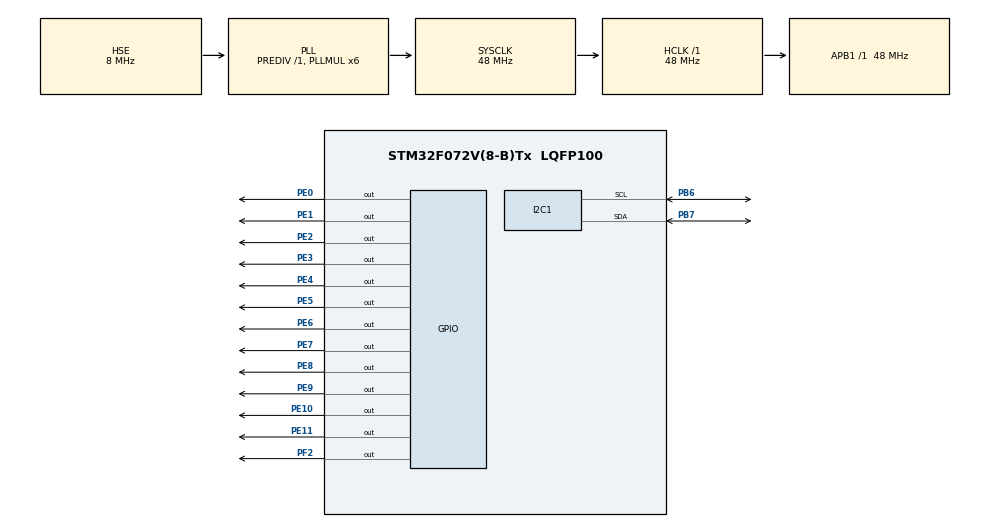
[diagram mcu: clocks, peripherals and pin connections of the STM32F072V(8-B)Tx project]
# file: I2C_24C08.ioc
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I2C1.Timing=0x2000090E
Mcu.Family=STM32F0
Mcu.Name=STM32F072V(8-B)Tx
Mcu.Package=LQFP100
PB6.Mode=I2C
PB6.Signal=I2C1_SCL
PB7.Mode=I2C
PB7.Signal=I2C1_SDA
PE0.Signal=GPIO_Output
PE1.Signal=GPIO_Output
PE10.Signal=GPIO_Output
PE11.Signal=GPIO_Output
PE2.Signal=GPIO_Output
PE3.Signal=GPIO_Output
PE4.Signal=GPIO_Output
PE5.Signal=GPIO_Output
PE6.Signal=GPIO_Output
PE7.Signal=GPIO_Output
PE8.Signal=GPIO_Output
PE9.Signal=GPIO_Output
PF0-OSC_IN.Mode=HSE-External-Oscillator
PF0-OSC_IN.Signal=RCC_OSC_IN
PF1-OSC_OUT.Mode=HSE-External-Oscillator
PF1-OSC_OUT.Signal=RCC_OSC_OUT
PF2.Signal=GPIO_Output
ProjectManager.HeapSize=0x200
ProjectManager.StackSize=0x400
ProjectManager.TargetToolchain=MDK-ARM V5
RCC.AHBFreq_Value=48000000
RCC.APB1Freq_Value=48000000
RCC.APB1TimFreq_Value=48000000
RCC.HCLKFreq_Value=48000000
RCC.PLLMUL=RCC_PLL_MUL6
RCC.PLLSourceVirtual=RCC_PLLSOURCE_HSE
RCC.SYSCLKFreq_VALUE=48000000
RCC.SYSCLKSource=RCC_SYSCLKSOURCE_PLLCLK
board=I2C_24C08

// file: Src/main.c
/**
  ******************************************************************************
  * File Name          : main.c
  * Description        : Main program body
  ******************************************************************************
  *
  * COPYRIGHT(c) 2018 STMicroelectronics
  *
  * Redistribution and use in source and binary forms, with or without modification,
  * are permitted provided that the following conditions are met:
  *   1. Redistributions of source code must retain the above copyright notice,
  *      this list of conditions and the following disclaimer.
  *   2. Redistributions in binary form must reproduce the above copyright notice,
  *      this list of conditions and the following disclaimer in the documentation
  *      and/or other materials provided with the distribution.
  *   3. Neither the name of STMicroelectronics nor the names of its contributors
  *      may be used to endorse or promote products derived from this software
  *      without specific prior written permission.
  *
  * THIS SOFTWARE IS PROVIDED BY THE COPYRIGHT HOLDERS AND CONTRIBUTORS "AS IS"
  * AND ANY EXPRESS OR IMPLIED WARRANTIES, INCLUDING, BUT NOT LIMITED TO, THE
  * IMPLIED WARRANTIES OF MERCHANTABILITY AND FITNESS FOR A PARTICULAR PURPOSE ARE
  * DISCLAIMED. IN NO EVENT SHALL THE COPYRIGHT HOLDER OR CONTRIBUTORS BE LIABLE
  * FOR ANY DIRECT, INDIRECT, INCIDENTAL, SPECIAL, EXEMPLARY, OR CONSEQUENTIAL
  * DAMAGES (INCLUDING, BUT NOT LIMITED TO, PROCUREMENT OF SUBSTITUTE GOODS OR
  * SERVICES; LOSS OF USE, DATA, OR PROFITS; OR BUSINESS INTERRUPTION) HOWEVER
  * CAUSED AND ON ANY THEORY OF LIABILITY, WHETHER IN CONTRACT, STRICT LIABILITY,
  * OR TORT (INCLUDING NEGLIGENCE OR OTHERWISE) ARISING IN ANY WAY OUT OF THE USE
  * OF THIS SOFTWARE, EVEN IF ADVISED OF THE POSSIBILITY OF SUCH DAMAGE.
  *
  ******************************************************************************
  */
#include "stm32f0xx_hal.h"

I2C_HandleTypeDef hi2c1;

/* USER CODE BEGIN PV */
/* Private variables ---------------------------------------------------------*/
uint8_t  num,display;   /* 定义显示变量 */
uint32_t status;        /* 定义状态变量 */

/* USER CODE END PV */

void SystemClock_Config(void);
void Error_Handler(void);
static void MX_GPIO_Init(void);
static void MX_I2C1_Init(void);

/* USER CODE BEGIN PFP */
/* Private function prototypes -----------------------------------------------*/
void SEG_Display(uint32_t num);              /* 数码管显示函数  */

/* USER CODE END PFP */

/* USER CODE BEGIN 0 */
const uint8_t table0[]= {0x3f,0x06,0x5b,0x4f,0x66,0x6d,0x7d,0x07,0x7f,0x6f};  /* 共阴（无点）*/
const uint8_t table1[]= {0xbf,0x86,0xdb,0xcf,0xe6,0xed,0xfd,0x87,0xff,0xef};  /* 共阴（有点）*/

/* USER CODE END 0 */

int main(void)
{

  /* MCU Configuration----------------------------------------------------------*/

  /* Reset of all peripherals, Initializes the Flash interface and the Systick. */
  HAL_Init();

  /* Configure the system clock */
  SystemClock_Config();

  /* Initialize all configured peripherals */
  MX_GPIO_Init();
  MX_I2C1_Init();

  /* Infinite loop */
  /* USER CODE BEGIN WHILE */
  while (1)
  {
		/* 向存储器24C08写100个数据并读回	*/
		if(num<100)
		{
			num++;
			/* 将num的值写入从机地址1010000、1存储单元 */
			status = HAL_I2C_Mem_Write ( &hi2c1,0x50,1,I2C_MEMADD_SIZE_8BIT,&num,1,5);
			/*　延时　 */
			HAL_Delay(3);
			/* 将从机地址1010000、1存储单元中的数值读出 */
			status = HAL_I2C_Mem_Read ( &hi2c1,0x50,1,I2C_MEMADD_SIZE_8BIT,&display,1,5);
		}
		/* 数码管显示读出的数据  */
		SEG_Display(num);

	/* USER CODE END WHILE */

  }

}

/** System Clock Configuration
*/
void SystemClock_Config(void)
{

  RCC_OscInitTypeDef RCC_OscInitStruct;
  RCC_ClkInitTypeDef RCC_ClkInitStruct;
  RCC_PeriphCLKInitTypeDef PeriphClkInit;

  RCC_OscInitStruct.OscillatorType = RCC_OSCILLATORTYPE_HSI|RCC_OSCILLATORTYPE_HSE;
  RCC_OscInitStruct.HSEState = RCC_HSE_ON;
  RCC_OscInitStruct.HSIState = RCC_HSI_ON;
  RCC_OscInitStruct.HSICalibrationValue = 16;
  RCC_OscInitStruct.PLL.PLLState = RCC_PLL_ON;
  RCC_OscInitStruct.PLL.PLLSource = RCC_PLLSOURCE_HSE;
  RCC_OscInitStruct.PLL.PLLMUL = RCC_PLL_MUL6;
  RCC_OscInitStruct.PLL.PREDIV = RCC_PREDIV_DIV1;
  if (HAL_RCC_OscConfig(&RCC_OscInitStruct) != HAL_OK)
  {
    Error_Handler();
  }

  RCC_ClkInitStruct.ClockType = RCC_CLOCKTYPE_HCLK|RCC_CLOCKTYPE_SYSCLK
                              |RCC_CLOCKTYPE_PCLK1;
  RCC_ClkInitStruct.SYSCLKSource = RCC_SYSCLKSOURCE_PLLCLK;
  RCC_ClkInitStruct.AHBCLKDivider = RCC_SYSCLK_DIV1;
  RCC_ClkInitStruct.APB1CLKDivider = RCC_HCLK_DIV1;
  if (HAL_RCC_ClockConfig(&RCC_ClkInitStruct, FLASH_LATENCY_1) != HAL_OK)
  {
    Error_Handler();
  }

  PeriphClkInit.PeriphClockSelection = RCC_PERIPHCLK_I2C1;
  PeriphClkInit.I2c1ClockSelection = RCC_I2C1CLKSOURCE_HSI;
  if (HAL_RCCEx_PeriphCLKConfig(&PeriphClkInit) != HAL_OK)
  {
    Error_Handler();
  }

  HAL_SYSTICK_Config(HAL_RCC_GetHCLKFreq()/1000);

  HAL_SYSTICK_CLKSourceConfig(SYSTICK_CLKSOURCE_HCLK);

  /* SysTick_IRQn interrupt configuration */
  HAL_NVIC_SetPriority(SysTick_IRQn, 0, 0);
}

/* I2C1 init function */
static void MX_I2C1_Init(void)
{

  hi2c1.Instance = I2C1;
  hi2c1.Init.Timing = 0x2000090E;
  hi2c1.Init.OwnAddress1 = 0;
  hi2c1.Init.AddressingMode = I2C_ADDRESSINGMODE_7BIT;
  hi2c1.Init.DualAddressMode = I2C_DUALADDRESS_DISABLE;
  hi2c1.Init.OwnAddress2 = 0;
  hi2c1.Init.OwnAddress2Masks = I2C_OA2_NOMASK;
  hi2c1.Init.GeneralCallMode = I2C_GENERALCALL_DISABLE;
  hi2c1.Init.NoStretchMode = I2C_NOSTRETCH_DISABLE;
  if (HAL_I2C_Init(&hi2c1) != HAL_OK)
  {
    Error_Handler();
  }

    /**Configure Analogue filter
    */
  if (HAL_I2CEx_ConfigAnalogFilter(&hi2c1, I2C_ANALOGFILTER_ENABLE) != HAL_OK)
  {
    Error_Handler();
  }

}

/** Configure pins as
        * Analog
        * Input
        * Output
        * EVENT_OUT
        * EXTI
*/
static void MX_GPIO_Init(void)
{

  GPIO_InitTypeDef GPIO_InitStruct;

  /* GPIO Ports Clock Enable */
  __HAL_RCC_GPIOE_CLK_ENABLE();
  __HAL_RCC_GPIOF_CLK_ENABLE();
  __HAL_RCC_GPIOB_CLK_ENABLE();

  /*Configure GPIO pin Output Level */
  HAL_GPIO_WritePin(GPIOE, GPIO_PIN_2|GPIO_PIN_3|GPIO_PIN_4|GPIO_PIN_5
                          |GPIO_PIN_6|GPIO_PIN_7|GPIO_PIN_8|GPIO_PIN_9
                          |GPIO_PIN_10|GPIO_PIN_11|GPIO_PIN_0|GPIO_PIN_1, GPIO_PIN_RESET);

  /*Configure GPIO pin Output Level */
  HAL_GPIO_WritePin(GPIOF, GPIO_PIN_2, GPIO_PIN_RESET);

  /*Configure GPIO pins : PE2 PE3 PE4 PE5
                           PE6 PE7 PE8 PE9
                           PE10 PE11 PE0 PE1 */
  GPIO_InitStruct.Pin = GPIO_PIN_2|GPIO_PIN_3|GPIO_PIN_4|GPIO_PIN_5
                          |GPIO_PIN_6|GPIO_PIN_7|GPIO_PIN_8|GPIO_PIN_9
                          |GPIO_PIN_10|GPIO_PIN_11|GPIO_PIN_0|GPIO_PIN_1;
  GPIO_InitStruct.Mode = GPIO_MODE_OUTPUT_PP;
  GPIO_InitStruct.Pull = GPIO_NOPULL;
  GPIO_InitStruct.Speed = GPIO_SPEED_FREQ_LOW;
  HAL_GPIO_Init(GPIOE, &GPIO_InitStruct);

  /*Configure GPIO pin : PF2 */
  GPIO_InitStruct.Pin = GPIO_PIN_2;
  GPIO_InitStruct.Mode = GPIO_MODE_OUTPUT_PP;
  GPIO_InitStruct.Pull = GPIO_NOPULL;
  GPIO_InitStruct.Speed = GPIO_SPEED_FREQ_LOW;
  HAL_GPIO_Init(GPIOF, &GPIO_InitStruct);

}

/* USER CODE BEGIN 4 */

/*  数码管显示函数  */
void SEG_Display(uint32_t num)
{
	/* 取出四位数显示值 */
  uint8_t GeWei,ShiWei,BaiWei,QianWei;
	GeWei   = (uint8_t)(num%10);
	ShiWei  = (uint8_t)(num%100/10);
	BaiWei  = (uint8_t)(num%1000/100);
	QianWei = (uint8_t)(num/1000);

	/* 使能数码管位驱动  */
	HAL_GPIO_WritePin(GPIOF,GPIO_PIN_2,GPIO_PIN_RESET);

	/* 显示个位 */
	GPIOE->ODR |= (uint16_t)(table0[GeWei]);
	/* 使能个位 */
	HAL_GPIO_WritePin(GPIOE,GPIO_PIN_9|GPIO_PIN_10|GPIO_PIN_11,GPIO_PIN_SET);
	HAL_GPIO_WritePin(GPIOE,GPIO_PIN_8,GPIO_PIN_RESET);
	HAL_Delay(3);
	/* 消隐 */
  GPIOE->ODR &= 0xFF00;
	GPIOE->ODR |= 0x0F00;
	HAL_Delay(1);

	/* 显示十位 */
	GPIOE->ODR |= (uint16_t)(table0[ShiWei]);
	/* 使能十位 */
	HAL_GPIO_WritePin(GPIOE,GPIO_PIN_8|GPIO_PIN_10|GPIO_PIN_11,GPIO_PIN_SET);
	HAL_GPIO_WritePin(GPIOE,GPIO_PIN_9,GPIO_PIN_RESET);
	HAL_Delay(3);
	/* 消隐 */
  GPIOE->ODR &= 0xFF00;
	GPIOE->ODR |= 0x0F00;
	HAL_Delay(1);

	/* 显示百位 */
	GPIOE->ODR |= (uint16_t)(table0[BaiWei]);
	/* 使能百位 */
	HAL_GPIO_WritePin(GPIOE,GPIO_PIN_8|GPIO_PIN_9|GPIO_PIN_11,GPIO_PIN_SET);
	HAL_GPIO_WritePin(GPIOE,GPIO_PIN_10,GPIO_PIN_RESET);
	HAL_Delay(3);
	/* 消隐 */
  GPIOE->ODR &= 0xFF00;
	GPIOE->ODR |= 0x0F00;
	HAL_Delay(1);

	/* 显示千位 */
	GPIOE->ODR |= (uint16_t)(table0[QianWei]);
	/* 使能千位 */
	HAL_GPIO_WritePin(GPIOE,GPIO_PIN_8|GPIO_PIN_9|GPIO_PIN_10,GPIO_PIN_SET);
	HAL_GPIO_WritePin(GPIOE,GPIO_PIN_11,GPIO_PIN_RESET);
	HAL_Delay(3);
	/* 消隐 */
  GPIOE->ODR &= 0xFF00;
	GPIOE->ODR |= 0x0F00;
	HAL_Delay(1);
}

/* USER CODE END 4 */

void Error_Handler(void)
{
  while(1)
  {
  }
}

/************************ (C) COPYRIGHT STMicroelectronics *****END OF FILE****/
